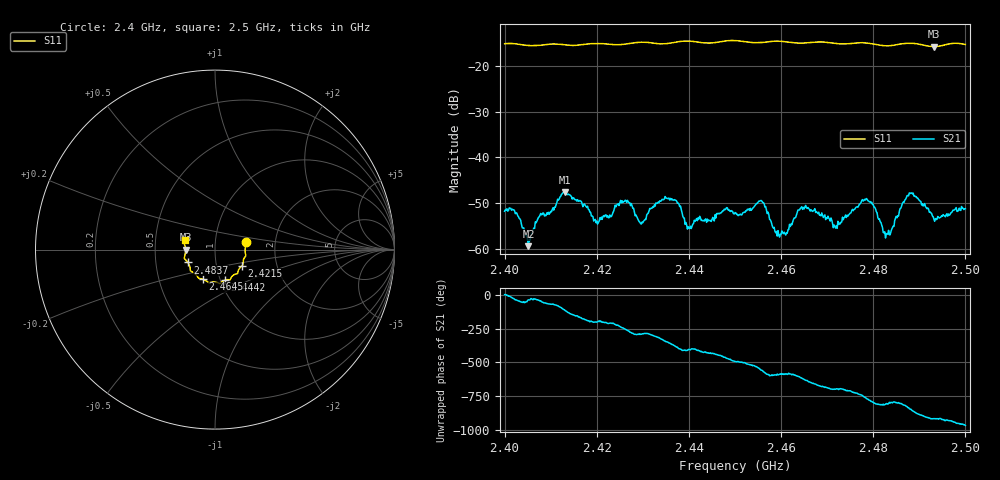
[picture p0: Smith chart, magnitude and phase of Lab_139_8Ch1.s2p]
# Hz S RI R 50
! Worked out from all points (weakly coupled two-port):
!   601 points, 2.4 GHz to 2.5 GHz, reference 50 ohm
!   highest |S21| = -47.54 dB at 2.413 GHz (marker M1); lowest = -59.4 dB at 2.4052 GHz (marker M2)
!   lowest |S11| = -15.7 dB at 2.4932 GHz (marker M3), VSWR 1.39, Z = 35.9 - j0.0598 ohm
!   |S11| at or under -10 dB: start of sweep to end of sweep
!   S12 and S22 are empty: the file has one direction only
!   S11 on the Smith chart (normalised r, x): 2.4 GHz: 1.41, +0.12; 2.4215 GHz: 1.33, -0.25; 2.4442 GHz: 1.05, -0.37; 2.4645 GHz: 0.83, -0.29; 2.4837 GHz: 0.73, -0.11; 2.5 GHz: 0.71, +0.07
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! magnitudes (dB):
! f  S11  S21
! 2.4 GHz  -15.1  -51.8
! 2.4052 GHz  -15.5  -59.4
! 2.413 GHz  -15.3  -47.5
! 2.4167 GHz  -15.3  -49.7
! 2.4215 GHz  -15.1  -52.7
! 2.4263 GHz  -15.2  -49.4
! 2.4298 GHz  -14.8  -54.1
! 2.4333 GHz  -15.1  -49.8
! 2.44 GHz  -14.5  -55.4
! 2.4442 GHz  -15.0  -53.9
! 2.45 GHz  -14.4  -52.1
! 2.4557 GHz  -14.8  -49.4
! 2.46 GHz  -14.6  -56.8
! 2.4645 GHz  -15.0  -50.8
! 2.4667 GHz  -14.8  -51.7
! 2.4717 GHz  -15.0  -55.0
! 2.4785 GHz  -14.9  -49.0
! 2.4833 GHz  -15.6  -55.9
! 2.4837 GHz  -15.5  -56.9
! 2.4882 GHz  -15.0  -47.8
! 2.4932 GHz  -15.7  -53.4
! 2.5 GHz  -15.2  -51.2
